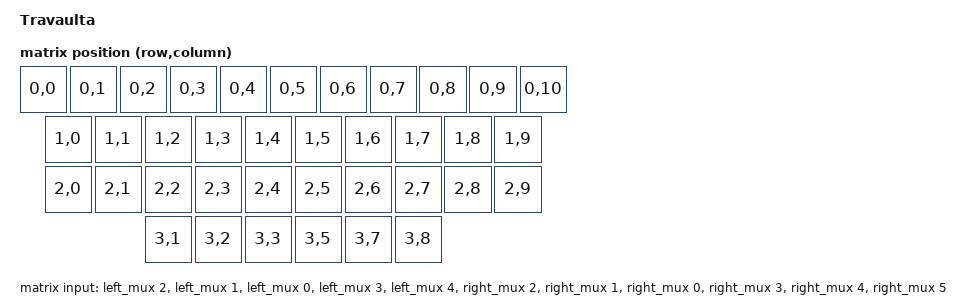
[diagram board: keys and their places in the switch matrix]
/*
 * Copyright (c) 2020 The ZMK Contributors
 *
 * SPDX-License-Identifier: MIT
 */

/dts-v1/;
#include <st/f4/stm32f401Xc.dtsi>
#include <st/f4/stm32f401c(b-c)ux-pinctrl.dtsi>

#include <zephyr/dt-bindings/dt-util.h>
#include <zephyr/dt-bindings/adc/adc.h>

#include <dt-bindings/zmk/matrix_transform.h>

&adc1 {
	status = "okay";

	pinctrl-0 = <&adc1_in3_pa3>;
	pinctrl-names = "default";

	#address-cells = <1>;
	#size-cells = <0>;

	st,adc-clock-source = <SYNC>;
	st,adc-prescaler = <4>;

	channel@3 {
		reg = <3>;
		zephyr,gain = "ADC_GAIN_1";
		zephyr,reference = "ADC_REF_INTERNAL";
		zephyr,acquisition-time = <ADC_ACQ_TIME_DEFAULT>;
		zephyr,resolution = <12>;
	};
};

&pinctrl {
    ec_pin1: ec_pin1 {
        pinmux = <STM32_PINMUX('B', 12, GPIO)>;

        slew-rate = "very-high-speed";
    };

    ec_pin2: ec_pin2 {
        pinmux = <STM32_PINMUX('B', 13, GPIO)>;

        slew-rate = "very-high-speed";
    };

    ec_pin3: ec_pin3 {
        pinmux = <STM32_PINMUX('B', 14, GPIO)>;

        slew-rate = "very-high-speed";
    };

    ec_pin4: ec_pin4 {
        pinmux = <STM32_PINMUX('B', 15, GPIO)>;

        slew-rate = "very-high-speed";
    };
};

/ {
    model = "Travaulta";
    compatible = "calvin,travaulta", "st,stm32f401";

    chosen {
        zephyr,sram = &sram0;
        zephyr,flash = &flash0;
        zmk,kscan = &matrix;
        zmk,matrix_transform = &transform;
    };

    transform: transform {
        compatible = "zmk,matrix-transform";
        rows = <4>;
        columns = <11>;

        map = <
        RC(0,0) RC(0,1) RC(0,2) RC(0,3) RC(0,4) RC(0,5) RC(0,6) RC(0,7) RC(0,8) RC(0,9) RC(0,10)
        RC(1,0)  RC(1,1) RC(1,2) RC(1,3) RC(1,4) RC(1,5) RC(1,6) RC(1,7) RC(1,8)    RC(1,9)
        RC(2,0)   RC(2,1) RC(2,2) RC(2,3) RC(2,4)     RC(2,5) RC(2,6) RC(2,7) RC(2,8)  RC(2,9)
                     RC(3,1) RC(3,2)   RC(3,3)     RC(3,5)   RC(3,7)  RC(3,8)
        >;
    };

    left_mux: left_mux {
    	compatible = "zmk,gpio-mux";

        select-gpios
            = <&gpiob 5 GPIO_ACTIVE_HIGH>
            , <&gpiob 4 GPIO_ACTIVE_HIGH>
            , <&gpiob 3 GPIO_ACTIVE_HIGH>
            ;

        en-gpios = <&gpiob 0 GPIO_ACTIVE_LOW>;

        gpio-controller;
        ngpios = <8>;
        #gpio-cells = <2>;
    };

    right_mux: right_mux {
    	compatible = "zmk,gpio-mux";

        select-gpios
            = <&gpiob 5 GPIO_ACTIVE_HIGH>
            , <&gpiob 4 GPIO_ACTIVE_HIGH>
            , <&gpiob 3 GPIO_ACTIVE_HIGH>
            ;

        en-gpios = <&gpiob 1 GPIO_ACTIVE_LOW>;

        gpio-controller;
        ngpios = <8>;
        #gpio-cells = <2>;
    };

    matrix: matrix {
        pinctrl-0 = <&ec_pin1 &ec_pin2 &ec_pin3 &ec_pin4>;
        pinctrl-names = "default";
        compatible = "zmk,kscan-ec-matrix";
        input-gpios
            = <&left_mux 2 0>
            , <&left_mux 1 0>
            , <&left_mux 0 0>
            , <&left_mux 3 0>
            , <&left_mux 4 0>
            , <&right_mux 2 0>
            , <&right_mux 1 0>
            , <&right_mux 0 0>
            , <&right_mux 3 0>
            , <&right_mux 4 0>
            , <&right_mux 5 0>
        ;
        strobe-gpios
            = <&gpiob 13 GPIO_ACTIVE_HIGH>
            , <&gpiob 14 GPIO_ACTIVE_HIGH>
            , <&gpiob 15 GPIO_ACTIVE_HIGH>
            , <&gpiob 12 GPIO_ACTIVE_HIGH>
            ;
        io-channels = <&adc1 3>;
        matrix-relax-us = <1>;
        strobe-input-masks = <0 BIT(10) BIT(10) (BIT(0) + BIT(4) + BIT(6) + BIT(9) + BIT(10))>;
        drain-gpios = <&gpioa 4 GPIO_OPEN_DRAIN>;
    };
};

zephyr_udc0: &usbotg_fs {
	pinctrl-0 = <&usb_otg_fs_dm_pa11 &usb_otg_fs_dp_pa12>;
	pinctrl-names = "default";
	status = "okay";
};

// Enable all the clocks!
&clk_lsi {
    status = "okay";
};

&clk_hse {
	hse-bypass;
	clock-frequency = <DT_FREQ_M(8)>;
	status = "okay";
};

&pll {
    div-m = <8>;
    mul-n = <384>;
    div-p = <4>;
    div-q = <8>;
    clocks = <&clk_hsi>;
    status = "okay";
};

&rcc {
    clocks = <&pll>;
    clock-frequency = <DT_FREQ_M(96)>;
    ahb-prescaler = <1>;
    apb1-prescaler = <2>;
    apb2-prescaler = <1>;
};

&rtc {
    status = "okay";
};

&flash0 {
    /*
     * For more information, see:
     * http: //docs.zephyrproject.org/latest/guides/dts/index.html#flash-partitions
     */
    partitions {
        compatible = "fixed-partitions";
        #address-cells = <1>;
        #size-cells = <1>;

        /* Set 6Kb of storage at the end of the 256Kb of flash */
        storage_partition: partition@3e800 {
            label = "storage";
            reg = <0x0003e800 DT_SIZE_K(6)>;
        };
    };
};
